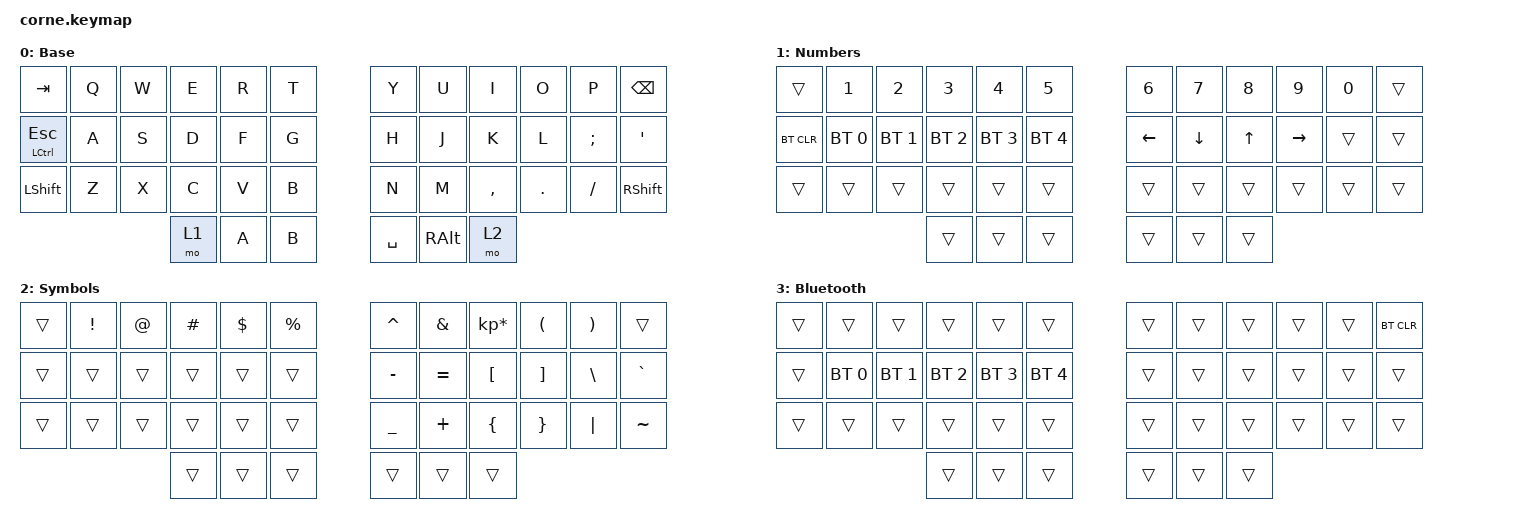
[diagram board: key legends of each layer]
/*
 * Copyright (c) 2020 The ZMK Contributors
 *
 * SPDX-License-Identifier: MIT
 */

#include <behaviors.dtsi>
#include <dt-bindings/zmk/bt.h>
#include <dt-bindings/zmk/keys.h>

/ {
    combos {
        compatible = "zmk,combos";

        layer_3 {
            bindings = <&to 3>;
            key-positions = <36 41>;
        };
    };

    keymap {
        compatible = "zmk,keymap";

        default_layer {
            // -----------------------------------------------------------------------------------------
            // |  TAB |  Q  |  W  |  E  |  R  |  T  |   |  Y  |  U   |  I  |  O  |  P  | BKSP |
            // | CTRL |  A  |  S  |  D  |  F  |  G  |   |  H  |  J   |  K  |  L  |  ;  |  '   |
            // | SHFT |  Z  |  X  |  C  |  V  |  B  |   |  N  |  M   |  ,  |  .  |  /  | ESC  |
            //                    | GUI | LWR | SPC |   | ENT | RSE  | ALT |

            display-name = "Base";
            bindings = <
&kp TAB                  &kp Q  &kp W  &kp E  &kp R  &kp T    &kp Y      &kp U          &kp I      &kp O    &kp P     &kp BSPC
&mt LEFT_CONTROL ESCAPE  &kp A  &kp S  &kp D  &kp F  &kp G    &kp H      &kp J          &kp K      &kp L    &kp SEMI  &kp SQT
&kp LSHFT                &kp Z  &kp X  &kp C  &kp V  &kp B    &kp N      &kp M          &kp COMMA  &kp DOT  &kp FSLH  &kp RIGHT_SHIFT
                                       &mo 1  &kp A  &kp B    &kp SPACE  &kp RIGHT_ALT  &mo 2
            >;
        };

        lower_layer {
            // -----------------------------------------------------------------------------------------
            // |  TAB |  1  |  2  |  3  |  4  |  5  |   |  6  |  7  |  8  |  9  |  0  | BKSP |
            // | BTCLR| BT1 | BT2 | BT3 | BT4 | BT5 |   | LFT | DWN |  UP | RGT |     |      |
            // | SHFT |     |     |     |     |     |   |     |     |     |     |     |      |
            //                    | GUI |     | SPC |   | ENT |     | ALT |

            display-name = "Numbers";
            bindings = <
&trans      &kp N1        &kp N2        &kp N3        &kp N4        &kp N5          &kp N6    &kp N7    &kp N8  &kp N9     &kp N0  &trans
&bt BT_CLR  &bt BT_SEL 0  &bt BT_SEL 1  &bt BT_SEL 2  &bt BT_SEL 3  &bt BT_SEL 4    &kp LEFT  &kp DOWN  &kp UP  &kp RIGHT  &trans  &trans
&trans      &trans        &trans        &trans        &trans        &trans          &trans    &trans    &trans  &trans     &trans  &trans
                                        &trans        &trans        &trans          &trans    &trans    &trans
            >;
        };

        raise_layer {
            // -----------------------------------------------------------------------------------------
            // |  TAB |  !  |  @  |  #  |  $  |  %  |   |  ^  |  &  |  *  |  (  |  )  | BKSP |
            // | CTRL |     |     |     |     |     |   |  -  |  =  |  [  |  ]  |  \  |  `   |
            // | SHFT |     |     |     |     |     |   |  _  |  +  |  {  |  }  | "|" |  ~   |
            //                    | GUI |     | SPC |   | ENT |     | ALT |

            display-name = "Symbols";
            bindings = <
&trans  &kp EXCL  &kp AT  &kp HASH  &kp DLLR  &kp PRCNT    &kp CARET  &kp AMPS   &kp KP_MULTIPLY  &kp LPAR  &kp RPAR  &trans
&trans  &trans    &trans  &trans    &trans    &trans       &kp MINUS  &kp EQUAL  &kp LBKT         &kp RBKT  &kp BSLH  &kp GRAVE
&trans  &trans    &trans  &trans    &trans    &trans       &kp UNDER  &kp PLUS   &kp LBRC         &kp RBRC  &kp PIPE  &kp TILDE
                          &trans    &trans    &trans       &trans     &trans     &trans
            >;
        };

        Bluetooth {
            bindings = <
&trans  &trans        &trans        &trans        &trans        &trans          &trans  &trans  &trans  &trans  &trans  &bt BT_CLR
&trans  &bt BT_SEL 0  &bt BT_SEL 1  &bt BT_SEL 2  &bt BT_SEL 3  &bt BT_SEL 4    &trans  &trans  &trans  &trans  &trans  &trans
&trans  &trans        &trans        &trans        &trans        &trans          &trans  &trans  &trans  &trans  &trans  &trans
                                    &trans        &trans        &trans          &trans  &trans  &trans
            >;
        };
    };
};
